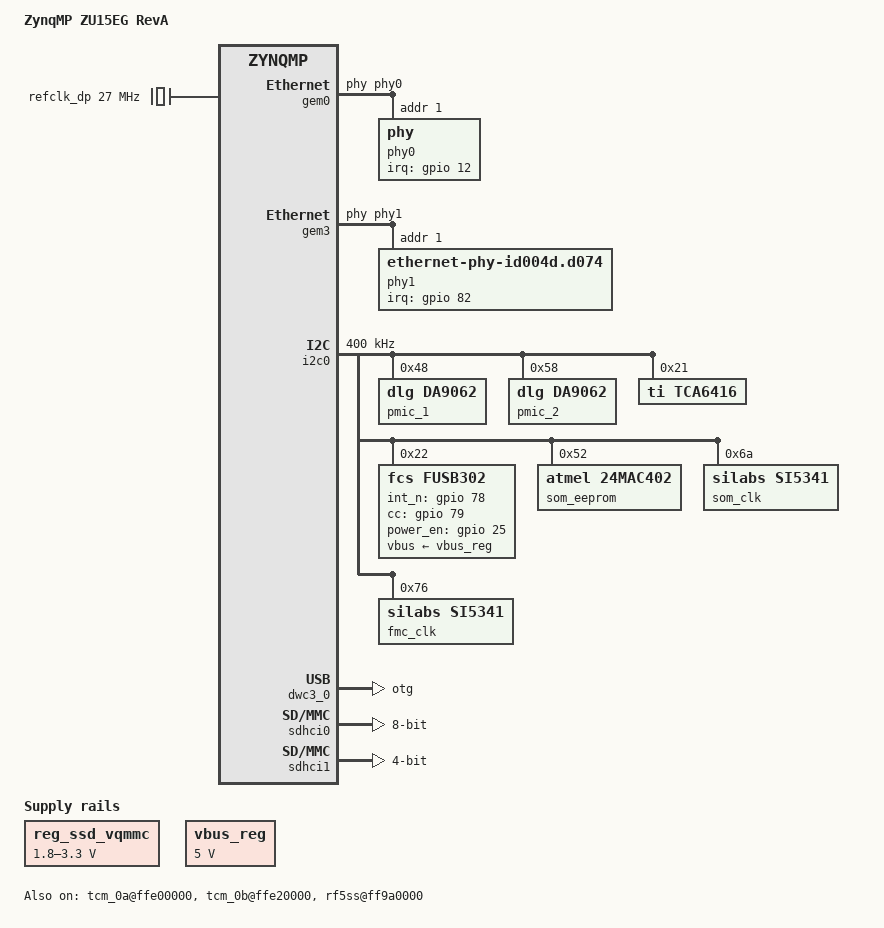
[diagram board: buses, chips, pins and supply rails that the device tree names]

/dts-v1/;

#include "zynqmp.dtsi"
#include "zynqmp-clk-ccf.dtsi"
#include <dt-bindings/input/input.h>
#include <dt-bindings/gpio/gpio.h>
#include <dt-bindings/pinctrl/pinctrl-zynqmp.h>
#include <dt-bindings/phy/phy.h>
/ {
      model = "ZynqMP ZU15EG RevA";
      compatible = "xlnx,zynqmp-zu15eg-revA","xlnx,zynqmp";
aliases {
		ethernet0 = &gem3;
        ethernet1 = &gem0;
		i2c = &i2c0;
		mmc0 = &sdhci1;
		nvmem0 = &som_eeprom;
		rtc0 = &rtc;
		usb0 = &fusb302;
        clk_som= &som_clk;
        clk_fmc=&fmc_clk;

       
	};
	chosen {
		bootargs = "earlycon";
		stdout-path = "serial0:115200n8";
	};
	
	regulators {
		compatible = "simple-bus";
		#address-cells = <1>;
		#size-cells = <0>;
		status = "okay";
		reg_ssd_vqmmc: regulator_ssd_vqmmc {
			compatible = "regulator-gpio";
			regulator-name = "ssd_vqmmc";
			regulator-min-microvolt = <1800000>;
			regulator-max-microvolt = <3300000>;
			regulator-type = "voltage";
			gpios = <&gpio 43 0>;
			gpios-states = <0>;
			states = <3300000 0
				1800000 1>;
		};
		vbus_reg: regulator-vbus {
			compatible = "regulator-fixed";
			regulator-name = "vbus_5V";
			regulator-min-microvolt = <5000000>;
			regulator-max-microvolt = <5000000>;
			off-on-delay-us = <20000>;
		};
	};
	
	reserved-memory {
		#address-cells = <2>;
		#size-cells = <2>;
		ranges;
		rpu0vdev0vring0: rpu0vdev0vring0@70040000 {
			no-map;
			reg = <0x0 0x70040000 0x0 0x4000>;
		};
		rpu0vdev0vring1: rpu0vdev0vring1@70044000 {
			no-map;
			reg = <0x0 0x70044000 0x0 0x4000>;
		};
		rpu0vdev0buffer: rpu0vdev0buffer@70048000 {
			no-map;
			reg = <0x0 0x70048000 0x0 0x100000>;
		};
		rproc_0_reserved: rproc@70000000 {
			no-map;
			reg = <0x0 0x70000000 0x0 0x40000>;
		};
	};

	tcm_0a@ffe00000 {
		no-map;
		reg = <0x0 0xffe00000 0x0 0x10000>;
		phandle = <0x40>;
		status = "okay";
		compatible = "mmio-sram";
		power-domain = <&zynqmp_firmware 15>;
	};

	tcm_0b@ffe20000 {
		no-map;
		reg = <0x0 0xffe20000 0x0 0x10000>;
		phandle = <0x41>;
		status = "okay";
		compatible = "mmio-sram";
		power-domain = <&zynqmp_firmware 16>;
	};

	rf5ss@ff9a0000 {
		compatible = "xlnx,zynqmp-r5-remoteproc";
		status = "okay";
		xlnx,cluster-mode = <1>;
		ranges;
		reg = <0x0 0xFF9A0000 0x0 0x10000>;
		#address-cells = <0x2>;
		#size-cells = <0x2>;
			r5f_0 {
				compatible = "xilinx,r5f";
				#address-cells = <2>;
				#size-cells = <2>;
				ranges;
				sram = <0x40 0x41>;
				memory-region = <&rproc_0_reserved>, <&rpu0vdev0buffer>, <&rpu0vdev0vring0>, <&rpu0vdev0vring1>;
				power-domain = <&zynqmp_firmware 7>;
				mboxes = <&ipi_mailbox_rpu0 0>, <&ipi_mailbox_rpu0 1>;
				mbox-names = "tx", "rx";
		};
	};

	zynqmp_ipi1 {
		compatible = "xlnx,zynqmp-ipi-mailbox";
		interrupt-parent = <&gic>;
		interrupts = <0 29 4>;
		xlnx,ipi-id = <7>;
		#address-cells = <1>;
		#size-cells = <1>;
		ranges;
		/* APU<->RPU0 IPI mailbox controller */
		ipi_mailbox_rpu0: mailbox@ff990600 {
			reg = <0xff990600 0x20>,
			<0xff990620 0x20>,
			<0xff9900c0 0x20>,
			<0xff9900e0 0x20>;
			reg-names = "local_request_region",
			"local_response_region",
			"remote_request_region",
			"remote_response_region";
			#mbox-cells = <1>;
			xlnx,ipi-id = <1>;
		};

	};

	refclk_dp: refclk_dp {
		compatible = "fixed-clock";
		#clock-cells = <0>;
		clock-frequency = <27000000>;
	};
	iwg65m_info {
		compatible = "iwave,iwg65m-info";
	};
};
&spi0 {
	spinode: spidev@0x0 {
		compatible = "rohm,dh2228fv";
		status = "disabled";
		reg = <0>;
		spi-max-frequency = <100000000>;
	};
};
&can0 {
	pwdn-gpio = <&gpio 80 0>;
};
&gem0 {
	phy-handle = <&phy0>;
	phy-reset-gpio = <&gpio 42 1>;
	phy-reset-active-low;
	phy-reset-duration = <20>;
	phy0: phy@1 {
		reg = <1>;
		ti,rx-internal-delay = <0x8>;
		ti,tx-internal-delay = <0xa>;
		ti,fifo-depth = <0x1>;
		ti,rxctrl-strap-worka;
		at803x,led-act-blind-workaround;
		at803x,eee-disabled;
		at803x,vddio-1p8v;
		interrupt-parent = <&gpio>;
		interrupts = <12 8>;
	};
};
&gem3 {
	phy-handle = <&phy1>;
	phy-reset-gpio = <&gpio 81 1>;
	phy-reset-active-low;
	phy-reset-duration = <20>;
	phy1: phy@1 {
		reg = <1>;
		compatible = "ethernet-phy-id004d.d074";
		ti,rx-internal-delay = <0x8>;
		ti,tx-internal-delay = <0xa>;
		ti,fifo-depth = <0x1>;
		ti,rxctrl-strap-worka;
		at803x,led-act-blind-workaround;
		at803x,eee-disabled;
		at803x,vddio-1p8v;
		interrupt-parent = <&gpio>;
		interrupts = <82 8>;
	};
};
&i2c0 {
    clock-frequency = <400000>;

    pmic_1: pmic1_da9062@48 {
        compatible = "dlg,da9062";
        reg = <0x48>;
        gpio-controller;
        #gpio-cells = <2>;
        gpio {
            compatible = "dlg,da9062-gpio";
        };
    };

    pmic_2: pmic2_da9062@58 {
        compatible = "dlg,da9062";
        reg = <0x58>;
        gpio-controller;
        #gpio-cells = <2>;
        rtc {
            compatible = "dlg,da9062-rtc";
        };
        gpio {
            compatible = "dlg,da9062-gpio";
        };
    };

    tca6416: gpio@21 {
        compatible = "ti,tca6416";
        reg = <0x21>;
        gpio-controller;
        #gpio-cells = <2>;

        gtr_sel0 {
            gpio-hog;
            gpios = <4 0>;
            output-high; /* RS0 = 1 */
            line-name = "sel0";
        };

        gtr_sel1 {
            gpio-hog;
            gpios = <5 0>;
            output-low; /* Enable Transceiver */
            line-name = "sel1";
        };
    };

    fusb302: typec-portc@22 {
        compatible = "fcs,fusb302";
        reg = <0x22>;
        fcs,int_n = <&gpio 78 8>;
        fcs,cc = <&gpio 79 0>;
        fcs,power_en = <&gpio 25 0>;
        vbus-supply = <&vbus_reg>;
        status = "okay";
    };

    som_eeprom: eeprom@52 {
        compatible = "atmel,24mac402";
        reg = <0x52>;
        pagesize = <16>;
        address-width = <8>;
        size = <256>;
    };

    /* SOM clock synthesizer */
    som_clk: clock@6a {
        compatible = "silabs,si5341";
        reg = <0x6a>;
        status = "okay";
    };

    /* Carrier-board clock synthesizer feeding FMC (misc_clk1) */
    fmc_clk: clock@76 {
        compatible = "silabs,si5341";
        reg = <0x76>;
        status = "okay";
    };
};
&pcie {
	misc = <&gpio 83 8>;
};
&sata {
	ceva,p0-cominit-params = <0x18401828>;
	ceva,p0-comwake-params = <0x614080e>;
	ceva,p0-burst-params = <0x13084a06>;
	ceva,p0-retry-params = <0x96a43ffc>;
	ceva,p1-cominit-params = <0x18401828>;
	ceva,p1-comwake-params = <0x614080e>;
	ceva,p1-burst-params = <0x13084a06>;
	ceva,p1-retry-params = <0x96a43ffc>;
	ceva,broken-gen3;
};
&dwc3_0 {
	dr_mode = "otg";
	snps,dis_u2_susphy_quirk;
	snps,dis_u3_susphy_quirk;
	maximum-speed = "super-speed";
};
&sdhci0{
	bus-width = <8>;
};
&sdhci1 {
	clock-frequency = <200000000>;
	bus-width = <4>;
	xlnx,has-cd = <0x1>;
	vqmmc-supply = <&reg_ssd_vqmmc>;
};
&rtc {
	status = "disabled";
};
&psgtr {
	clocks =  <&refclk_dp>;
	clock-names = "ref1";
};

